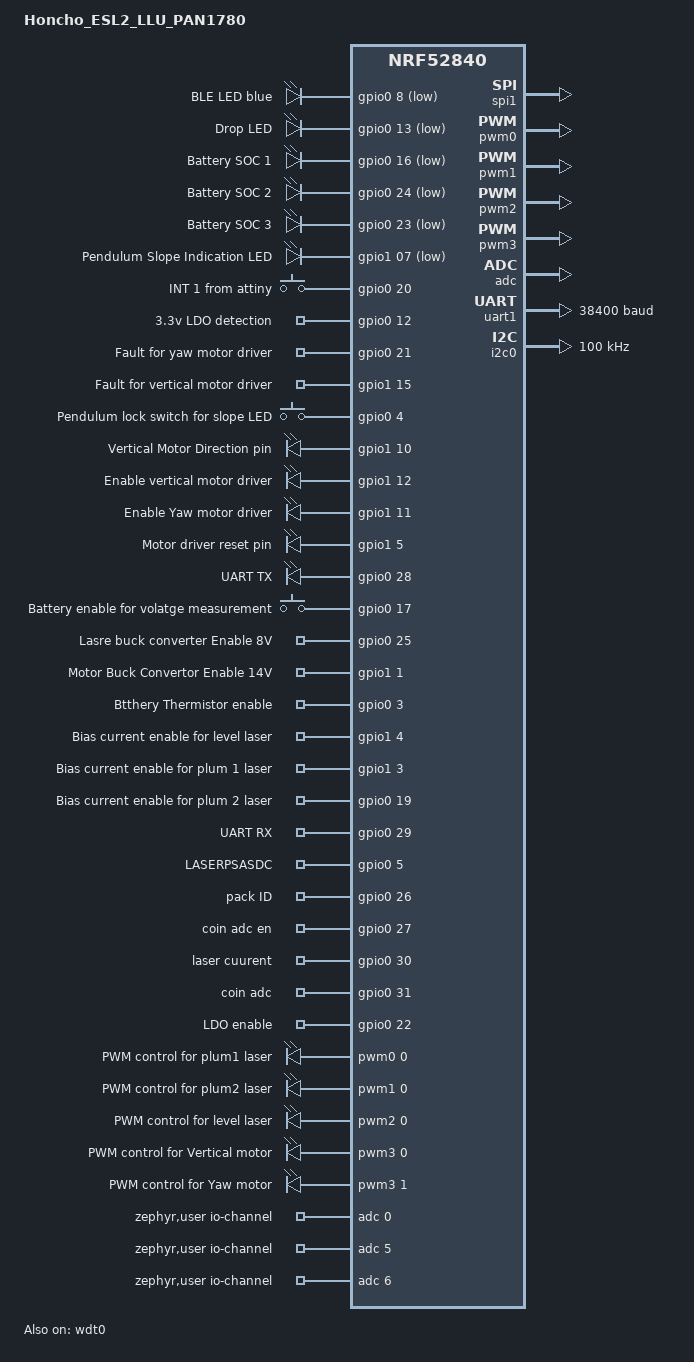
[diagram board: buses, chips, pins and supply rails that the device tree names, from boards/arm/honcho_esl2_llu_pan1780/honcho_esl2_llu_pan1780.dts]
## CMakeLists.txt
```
# SPDX-License-Identifier: Apache-2.0

cmake_minimum_required(VERSION 3.20.0)
find_package(Zephyr REQUIRED HINTS $ENV{ZEPHYR_BASE})
project(Honcho_LLU)

#Early init file
zephyr_library()
zephyr_library_sources(board.c)

# header file 
zephyr_include_directories(src/drivers/include)
zephyr_include_directories(src/peripherals/include)
zephyr_include_directories(src/Bluetooth/include)
zephyr_include_directories(src/motor_control/include)
zephyr_include_directories(src/data_logging/include)
zephyr_include_directories(src/calibration/include)

# source file
FILE(GLOB app_sources src/*.c)
FILE(GLOB driver_sources src/drivers/*.c)
FILE(GLOB peripheral_sources src/peripherals/*.c)
FILE(GLOB ble_sources src/Bluetooth/*.c/)
FILE(GLOB motor_control_sources src/motor_control/*.c)
FILE(GLOB datalog_sources src/data_logging/*.c)
FILE(GLOB calib_sources src/calibration/*.c)
target_sources(app PRIVATE ${app_sources} ${driver_sources} ${peripheral_sources} ${ble_sources} 
                                        ${motor_control_sources} ${datalog_sources} ${calib_sources})
```

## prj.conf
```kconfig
# Peripheral conig for project
CONFIG_GPIO=y
CONFIG_SPI=y
CONFIG_MAIN_STACK_SIZE=4096
CONFIG_STDOUT_CONSOLE=n
CONFIG_PRINTK=y
CONFIG_PINCTRL=y
CONFIG_PWM=y

# choose RTT console
CONFIG_CONSOLE=y
CONFIG_UART_CONSOLE=n
CONFIG_USE_SEGGER_RTT=y
CONFIG_RTT_CONSOLE=y

# Datalogging configrations
CONFIG_FLASH=y
CONFIG_FLASH_PAGE_LAYOUT=y

# KL Turn off debugging in kernel
CONFIG_NVS=y
CONFIG_LOG=n
CONFIG_NVS_LOG_LEVEL_DBG=n
CONFIG_REBOOT=y
CONFIG_MPU_ALLOW_FLASH_WRITE=y


# enable async uart
CONFIG_UART_ASYNC_API=y
CONFIG_SERIAL=y
CONFIG_UART_INTERRUPT_DRIVEN=y  

# Enable Thrad Monitor
CONFIG_THREAD_MONITOR=n

# Enable the BLE stack with GATT Client configuration
CONFIG_BT=y
CONFIG_BT_PERIPHERAL=y
CONFIG_BT_CENTRAL=y
CONFIG_BT_SMP=y
CONFIG_BT_GATT_CLIENT=y

# Enable the BLE modules from NCS
CONFIG_BT_NUS_CLIENT=y
CONFIG_BT_SCAN=y
CONFIG_BT_SCAN_FILTER_ENABLE=y
CONFIG_BT_SCAN_MANUFACTURER_DATA_CNT=1
CONFIG_BT_SCAN_UUID_CNT=1
CONFIG_BT_GATT_DM=y
CONFIG_HEAP_MEM_POOL_SIZE=4096

# This example requires more workqueue stack

CONFIG_BT_MAX_CONN=2
CONFIG_BT_MAX_PAIRED=1
CONFIG_BT_PRIVACY=n

# Enable bonding
CONFIG_BT_SETTINGS=y
CONFIG_FLASH_MAP=y
CONFIG_SETTINGS=y


#Configration for increased power
CONFIG_BT_CTLR=y
CONFIG_BT_HCI=y
CONFIG_BT_LL_SW_SPLIT=n
# CONFIG_BT_CTLR_ADVANCED_FEATURES=y
CONFIG_BT_CTLR_CONN_RSSI=y
CONFIG_BT_CTLR_TX_PWR_DYNAMIC_CONTROL=y
CONFIG_BT_LL_SOFTDEVICE=y

#Configration to stop idle thread to run 
CONFIG_IDLE_STACK_SIZE= 2048 

#Configratoin for ADC
CONFIG_ADC=y

#Configration for Watchdog
CONFIG_WATCHDOG=y

#Configration to remove the boot banner
CONFIG_BOOT_BANNER=n

#Configration to get PM_device
CONFIG_PM=y
CONFIG_PM_DEVICE=y

#Configration for I2C 
CONFIG_I2C=y
CONFIG_NEWLIB_LIBC=y


#Coded PHY
CONFIG_BT_CTLR_PHY_CODED=y
CONFIG_BT_EXT_ADV=y
CONFIG_BT_USER_PHY_UPDATE=y
CONFIG_BT_EXT_ADV_MAX_ADV_SET=2

CONFIG_BT_HCI_VS=y
CONFIG_BT_HCI_VS_EXT=y

CONFIG_ASSERT=y

CONFIG_NRFX_POWER=y

CONFIG_FPU=y
CONFIG_NEWLIB_LIBC_FLOAT_PRINTF=y
```

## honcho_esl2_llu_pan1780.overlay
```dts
// To get started, press Ctrl+Space to bring up the completion menu and view the available nodes.

// You can also use the buttons in the sidebar to perform actions on nodes.
// Actions currently available include:

// * Enabling / disabling the node
// * Adding the bus to a bus
// * Removing the node
// * Connecting ADC channels

// For more help, browse the DeviceTree documentation at https://docs.zephyrproject.org/latest/guides/dts/index.html
// You can also visit the nRF DeviceTree extension documentation at https://nrfconnect.github.io/vscode-nrf-connect/devicetree/nrfdevicetree.html
// &i2c0 {
// 	status = "disabled";
// };
```

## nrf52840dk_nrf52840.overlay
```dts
// To get started, press Ctrl+Space to bring up the completion menu and view the available nodes.

// You can also use the buttons in the sidebar to perform actions on nodes.
// Actions currently available include:

// * Enabling / disabling the node
// * Adding the bus to a bus
// * Removing the node
// * Connecting ADC channels

// For more help, browse the DeviceTree documentation at https://docs.zephyrproject.org/latest/guides/dts/index.html
// You can also visit the nRF DeviceTree extension documentation at https://nrfconnect.github.io/vscode-nrf-connect/devicetree/nrfdevicetree.html
// To get started, press Ctrl+Space to bring up the completion menu and view the available nodes.

// You can also use the buttons in the sidebar to perform actions on nodes.
// Actions currently available include:

// * Enabling / disabling the node
// * Adding the bus to a bus
// * Removing the node
// * Connecting ADC channels

// For more help, browse the DeviceTree documentation at https://docs.zephyrproject.org/latest/guides/dts/index.html
// You can also visit the nRF DeviceTree extension documentation at https://nrfconnect.github.io/vscode-nrf-connect/devicetree/nrfdevicetree.html
/ {
	chosen {
		zephyr,sram = &sram0;
		zephyr,flash = &flash0;
		zephyr,code-partition = &slot0_partition;
	};

	leds {
		compatible = "gpio-leds";
		// Power_led: Power_led {
		// 	gpios = <&gpio0 11 GPIO_ACTIVE_LOW>;
		// 	label = "Power LED red";
		// };
		Blue_led: Blue_led {
			gpios = <&gpio0 8 GPIO_ACTIVE_LOW>;
			label = "BLE LED blue";
		};
		Drop_led: Drop_led {
			gpios = <&gpio0 13 GPIO_ACTIVE_LOW>;
			label = "Drop LED";
		};
		soc1: soc1 {
			gpios = <&gpio0 16 GPIO_ACTIVE_LOW>;
			label = "Battery SOC 1";

		};
		soc2: soc2 {
			gpios = <&gpio0 24 GPIO_ACTIVE_LOW>;
			label = "Battery SOC 2";
			
		};
		soc3: soc3 {
			gpios = <&gpio0 23 GPIO_ACTIVE_LOW>;
			label = "Battery SOC 3";
			
		};
		Slope_led: Slope_led {
			gpios = <&gpio1 07 GPIO_ACTIVE_LOW>;
			label = "Pendulum Slope Indication LED";
			
		};
		
	};

	interrupt {
		compatible = "gpio-keys";
		keypadint: keypadint {
			gpios =  <&gpio0 20  (GPIO_PULL_DOWN | GPIO_ACTIVE_HIGH)>;
			label = "INT 1 from attiny";
		};
		v3p3detect: v3p3detect {
			gpios =  <&gpio0 12  (GPIO_PULL_DOWN | GPIO_ACTIVE_HIGH)>;
			label = "3.3v LDO detection";
		};
		yawfault: yawfault {
			gpios = <&gpio0 21 (GPIO_PULL_DOWN | GPIO_ACTIVE_HIGH)>;
			label = "Fault for yaw motor driver";
		};
		vertfault: vertfault {
			gpios = <&gpio1 15 (GPIO_PULL_DOWN | GPIO_ACTIVE_HIGH)>;
			label = "Fault for vertical motor driver";
		};
	};

	outputs {
		compatible = "gpio-leds";
		motor_dir: motor_dir  {
			gpios = <&gpio1 10 GPIO_ACTIVE_HIGH>;		
			label = "Vertical Motor Direction pin";
		};
		// motor_yaw_dir: motor_yaw_dir {
		// 	gpios = <&gpio1 2 GPIO_ACTIVE_HIGH>;		
		// 	label = "Yaw Motor Direction pin";
		// };
		motor_vertEN: motor_vertEN {
			gpios = <&gpio1 12 GPIO_ACTIVE_HIGH>;
			label = "Enable vertical motor driver";
		};
		motor_yawEN: motor_yawEN {
			gpios = <&gpio1 11 GPIO_ACTIVE_HIGH>;
			label = "Enable Yaw motor driver";
		};
		motor_reset: motor_reset{
			gpios = <&gpio1 5 GPIO_ACTIVE_HIGH>;
			label = "Motor driver reset pin";
		};
		Uart_TX: Uart_TX_28 {
            gpios = <&gpio0 28 GPIO_ACTIVE_HIGH>;
            label = "UART TX";
        };
       
	};
	
	enables {
		compatible = "gpio-keys";
		Vbatpack_EN: Vbatpack_EN {
			gpios =  <&gpio0 17 (GPIO_PULL_DOWN | GPIO_ACTIVE_HIGH)>;
			label = "Battery enable for volatge measurement";
		};
		LaserBuck_EN: LaserBuck_EN {
			gpios =  <&gpio0 25 (GPIO_PULL_DOWN | GPIO_ACTIVE_HIGH)>;
			label = "Lasre buck converter Enable 8V";
		};
		MotorBuck_EN: MotorBuck_EN {
			gpios =  <&gpio1 1 (GPIO_PULL_DOWN | GPIO_ACTIVE_HIGH)>;
			label = "Motor Buck Convertor Enable 14V";
		};
		LaserLbias:LaserLbias {
			gpios =  <&gpio1 4 (GPIO_PULL_DOWN | GPIO_ACTIVE_HIGH)>;
			label = "Bias current enable for level laser";
		};
		LaserP1bias:LaserP1bias {
			gpios =  <&gpio1 3 (GPIO_PULL_DOWN | GPIO_ACTIVE_HIGH)>;
			label = "Bias current enable for plum 1 laser";
		};
		LaserP2bias:LaserP2bias {
			gpios =  <&gpio0 19 (GPIO_PULL_DOWN | GPIO_ACTIVE_HIGH)>;
			label = "Bias current enable for plum 2 laser";
		};
		Uart_RX: Uart_RX_29 {
            gpios = <&gpio0 29 (GPIO_PULL_UP | GPIO_ACTIVE_HIGH)>;
            label = "UART RX";
        };

	};

	pwm {
		compatible = "pwm-leds";
		plum1_pwm: plum1_pwm {
			pwms = <&pwm0 0 PWM_MSEC(20) PWM_POLARITY_INVERTED>;
			label = "PWM control for plum1 laser";
		};

		plum2_pwm: plum2_pwm {
			pwms = <&pwm1 0 PWM_MSEC(20) PWM_POLARITY_INVERTED>;
			label = "PWM control for plum2 laser";
		};

		level_pwm: level_pwm {
			pwms = <&pwm2 0 PWM_MSEC(20) PWM_POLARITY_INVERTED>;
			label = "PWM control for level laser";
		};
		vert_motor_step: vert_motor_step {
			pwms = <&pwm3 0 PWM_MSEC(20) PWM_POLARITY_INVERTED>;
			label = "PWM control for Vertical motor";
		};
		yaw_motor_step: yaw_motor_step {
			pwms = <&pwm3 1 PWM_MSEC(20) PWM_POLARITY_INVERTED>;
			label = "PWM control for Yaw motor";
		};

	};

	zephyr,user{
		io-channels = <&adc 0>, <&adc 4>, <&adc 5>, <&adc 7> ;
	};

	aliases {
		keypadint 		= &keypadint;
		bleled	 		= &Blue_led;
		dropled			= &Drop_led;
		slopeled		= &Slope_led;
		vbaten 			= &Vbatpack_EN;
		lbucken 		= &LaserBuck_EN;
		mbucken 		= &MotorBuck_EN;
		motordir 		= &motor_dir;
		motorverten     = &motor_vertEN;
		motoryawen      = &motor_yawEN;
		lvlbias			= &LaserLbias;
		plm1bias		= &LaserP1bias;
		plm2bias		= &LaserP2bias;
		motorrst		= &motor_reset;	
		uarttx 			= &Uart_TX;				//Bitbang Datalog
        uartrx 			= &Uart_RX;				//Bitbang Datalog
	};
};

&gpio0 {
	status = "okay";
};

&gpio1 {
	status = "okay";
};

&spi1 {
	status = "okay";
	pinctrl-0 = <&spi1_default>;
	pinctrl-1 = <&spi1_sleep>;
	pinctrl-names = "default", "sleep";
	cs-gpios = <&gpio0 7 GPIO_ACTIVE_LOW>;
};

&pwm0 {
	status = "okay";
	pinctrl-0 = <&pwm0_default>;
	pinctrl-1 = <&pwm0_sleep>;
	pinctrl-names = "default", "sleep";
};

&pwm1 {
	status = "okay";
	pinctrl-0 = <&pwm1_default>;
	pinctrl-1 = <&pwm1_sleep>;
	pinctrl-names = "default", "sleep";
};

&pwm2 {
	status = "okay";
	pinctrl-0 = <&pwm2_default>;
	pinctrl-1 = <&pwm2_sleep>;
	pinctrl-names = "default", "sleep";
};

&pwm3 {
	status = "okay";
	pinctrl-0 = <&pwm3_default>;
	pinctrl-1 = <&pwm3_sleep>;
	pinctrl-names = "default", "sleep";
};



&adc {
	status = "okay";
};

// &uart0 {
// 	status = "okay";
// 	compatible = "nordic,nrf-uarte";
// 	current-speed = <115200>;
// 	pinctrl-0 = <&uart0_default>;
// 	pinctrl-1 = <&uart0_sleep>;
// 	pinctrl-names = "default", "sleep";
// };

&uart1 {
	compatible = "nordic,nrf-uarte";
	current-speed = <38400>;					//9600 = ibox, 38400 = bootloader
	status = "okay";
	pinctrl-0 = <&uart1_default>;
	pinctrl-1 = <&uart1_sleep>;
	pinctrl-names = "default", "sleep";
  };

  &i2c1 {
	status = "okay";
	pinctrl-0 = <&i2c1_default>;
	pinctrl-1 = <&i2c1_sleep>;
	pinctrl-names = "default", "sleep";

  };
  

// &flash0 {
// 	partitions {
// 		compatible = "fixed-partitions";
// 		#address-cells = <1>;
// 		#size-cells = <1>;

// 		boot_partition: partition@0 {
// 			label = "mcuboot";
// 			reg = <0x0 0xc000>;
// 		};
// 		slot0_partition: partition@c000 {
// 			label = "image-0";
// 			reg = <0xc000 0x72000>;
// 		};
// 		scratch_partition: partition@f0000 {
// 			label = "image-scratch";
// 			reg = <0xf0000 0x6000>;
// 		};
// 		calibraion_parition: partition@f6000 {
// 			label = "calib-variable";
// 			reg = <0xf6000 0x2000>;
// 		};
// 		variable_partition: partition@f8000{
// 			label = "flash-variable";
// 			reg = <0xf8000 0x2000>;
// 		};
// 		storage_partition: partition@fa000 {
// 			label = "storage";
// 			reg = <0xfa000 0x6000>;
// 		};
// 	};
// };

&pinctrl {
	// uart0_default: uart0_default {
	// 	group1 {
	// 		psels = <NRF_PSEL(UART_TX, 0, 28)>,
	// 				<NRF_PSEL(UART_RX, 0, 29)>;
	// 	};
	// };

	// uart0_sleep: uart0_sleep {
	// 	group1 {
	// 		psels = <NRF_PSEL(UART_TX, 0, 28)>,
	// 			<NRF_PSEL(UART_RX, 0, 29)>;
	// 		low-power-enable;
	// 	};
	// };

	spi1_default: spi1_default {
		group1 {
			psels = <NRF_PSEL(SPIM_SCK, 0, 15)>,
				<NRF_PSEL(SPIM_MISO, 0, 6)>,
				<NRF_PSEL(SPIM_MOSI, 0,14)>;
		};
	};

	spi1_sleep: spi1_sleep {
		group1 {
			psels = <NRF_PSEL(SPIM_SCK, 0, 15)>,
				<NRF_PSEL(SPIM_MISO, 0, 6)>,
				<NRF_PSEL(SPIM_MOSI, 0, 14)>;
			low-power-enable;
		};
	};

	uart1_default: uart1_default {
		group1 {
			psels = <NRF_PSEL(UART_RX, 1, 14)>;		////test point P1.14, th P0.29  AN5
			bias-pull-up;
		};
		group2 {
			psels = <NRF_PSEL(UART_TX, 1, 4)>;		//test point P1.04, SBD C3 P0.28 AN4
		};
	};
	
	uart1_sleep: uart1_sleep {
		group1 {
			psels = <NRF_PSEL(UART_RX, 1, 14)>,
				<NRF_PSEL(UART_TX, 1, 4)>;
			low-power-enable;
		};
	};

	i2c1_default: i2c1_default {
		group1 {
			psels = <NRF_PSEL(TWIM_SDA, 0, 8)>,
				<NRF_PSEL(TWIM_SCL, 0, 6)>;
		};
	};

	i2c1_sleep: i2c1_sleep {
		group1 {
			psels = <NRF_PSEL(TWIM_SDA, 0, 8)>,
				<NRF_PSEL(TWIM_SCL, 0, 6)>;
			low-power-enable;
		};
	};
	
	pwm0_default: pwm0_default {
		group1 {
			psels = <NRF_PSEL(PWM_OUT0, 1, 9)>;
			nordic,invert;
		};
	};

	pwm0_sleep: pwm0_sleep {
		group1 {
			psels = <NRF_PSEL(PWM_OUT0, 1, 9)>;
			low-power-enable;
		};
	};
	pwm1_default: pwm1_default {
		group1 {
			psels = <NRF_PSEL(PWM_OUT0, 1, 13)>;
			nordic,invert;
		};
	};

	pwm1_sleep: pwm1_sleep {
		group1 {
			psels = <NRF_PSEL(PWM_OUT0, 1, 13)>;
			low-power-enable;
		};
	};

	pwm2_default: pwm2_default {
		group1 {
			psels = <NRF_PSEL(PWM_OUT0, 1, 8)>;
			nordic,invert;
		};
	};

	pwm2_sleep: pwm2_sleep {
		group1 {
			psels = <NRF_PSEL(PWM_OUT0, 1, 8)>;
			low-power-enable;
		};
	};

	pwm3_default: pwm3_default {
		group1 {
			psels = <NRF_PSEL(PWM_OUT0, 1, 6)>,
					<NRF_PSEL(PWM_OUT1, 1, 2)>;
			nordic,invert;
		};
	};

	pwm3_sleep: pwm3_sleep {
		group1 {
			psels = <NRF_PSEL(PWM_OUT0, 1, 6)>,
					<NRF_PSEL(PWM_OUT1, 1, 2)>;
			low-power-enable;
		};
	};
	

};
```

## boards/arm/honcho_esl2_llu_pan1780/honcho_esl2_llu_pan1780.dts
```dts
// Copyright (c) 2023 Nordic Semiconductor ASA
// SPDX-License-Identifier: Apache-2.0

/dts-v1/;
#include <nordic/nrf52840_qiaa.dtsi>
#include "honcho_esl2_llu_pan1780-pinctrl.dtsi"

/ {
	model = "Honcho_ESL2_LLU_PAN1780";
	compatible = "stanley-black-decker,honcho-esl2-llu-pan1780";

	chosen {
		zephyr,sram = &sram0;
		zephyr,flash = &flash0;
		zephyr,code-partition = &slot0_partition;
	};

	leds {
		compatible = "gpio-leds";
		// Power_led: Power_led {
		// 	gpios = <&gpio0 11 GPIO_ACTIVE_LOW>;
		// 	label = "Power LED red";
		// };
		Blue_led: Blue_led {
			gpios = <&gpio0 8 GPIO_ACTIVE_LOW>;
			label = "BLE LED blue";
		};
		Drop_led: Drop_led {
			gpios = <&gpio0 13 GPIO_ACTIVE_LOW>;
			label = "Drop LED";
		};
		soc1: soc1 {
			gpios = <&gpio0 16 GPIO_ACTIVE_LOW>;
			label = "Battery SOC 1";

		};
		soc2: soc2 {
			gpios = <&gpio0 24 GPIO_ACTIVE_LOW>;
			label = "Battery SOC 2";
			
		};
		soc3: soc3 {
			gpios = <&gpio0 23 GPIO_ACTIVE_LOW>;
			label = "Battery SOC 3";
			
		};
		Slope_led: Slope_led {
			gpios = <&gpio1 07 GPIO_ACTIVE_LOW>;
			label = "Pendulum Slope Indication LED";
			
		};
		
	};

	interrupt {
		compatible = "gpio-keys";
		keypadint: keypadint {
			gpios =  <&gpio0 20  (GPIO_PULL_DOWN | GPIO_ACTIVE_HIGH)>;
			label = "INT 1 from attiny";
		};
		v3p3detect: v3p3detect {
			gpios =  <&gpio0 12  (GPIO_ACTIVE_HIGH)>;
			label = "3.3v LDO detection";
		};
		yawfault: yawfault {
			gpios = <&gpio0 21 (GPIO_ACTIVE_HIGH)>;
			label = "Fault for yaw motor driver";
		};
		vertfault: vertfault {
			gpios = <&gpio1 15 (GPIO_ACTIVE_HIGH)>;
			label = "Fault for vertical motor driver";
		};
		pendulumlock: pendulumlock {
			gpios = <&gpio0 4 (GPIO_PULL_DOWN | GPIO_ACTIVE_HIGH)>;
			label = "Pendulum lock switch for slope LED";
		};
		
	};

	outputs {
		compatible = "gpio-leds";
		motor_dir: motor_dir  {
			gpios = <&gpio1 10 GPIO_ACTIVE_HIGH>;		
			label = "Vertical Motor Direction pin";
		};
		// motor_yaw_dir: motor_yaw_dir {
		// 	gpios = <&gpio1 2 GPIO_ACTIVE_HIGH>;		
		// 	label = "Yaw Motor Direction pin";
		// };
		motor_vertEN: motor_vertEN {
			gpios = <&gpio1 12 GPIO_ACTIVE_HIGH>;
			label = "Enable vertical motor driver";
		};
		motor_yawEN: motor_yawEN {
			gpios = <&gpio1 11 GPIO_ACTIVE_HIGH>;
			label = "Enable Yaw motor driver";
		};
		motor_reset: motor_reset{
			gpios = <&gpio1 5 GPIO_ACTIVE_HIGH>;
			label = "Motor driver reset pin";
		};
		Uart_TX: Uart_TX_28 {
            gpios = <&gpio0 28 GPIO_ACTIVE_HIGH>;
            label = "UART TX";
        };
       
	};
	
	enables {
		compatible = "gpio-keys";
		Vbatpack_EN: Vbatpack_EN {
			gpios =  <&gpio0 17 (GPIO_ACTIVE_HIGH)>;
			label = "Battery enable for volatge measurement";
		};
		LaserBuck_EN: LaserBuck_EN {
			gpios =  <&gpio0 25 (GPIO_ACTIVE_HIGH)>;
			label = "Lasre buck converter Enable 8V";
		};
		MotorBuck_EN: MotorBuck_EN {
			gpios =  <&gpio1 1 (GPIO_ACTIVE_HIGH)>;
			label = "Motor Buck Convertor Enable 14V";
		};
		BattTH_EN: BattTH_EN {
			gpios =  <&gpio0 3 (GPIO_ACTIVE_HIGH)>;
			label = "Btthery Thermistor enable";
		};
		LaserLbias:LaserLbias {
			gpios =  <&gpio1 4 (GPIO_ACTIVE_HIGH)>;
			label = "Bias current enable for level laser";
		};
		LaserP1bias:LaserP1bias {
			gpios =  <&gpio1 3 (GPIO_ACTIVE_HIGH)>;
			label = "Bias current enable for plum 1 laser";
		};
		LaserP2bias:LaserP2bias {
			gpios =  <&gpio0 19 (GPIO_ACTIVE_HIGH)>;
			label = "Bias current enable for plum 2 laser";
		};
		Uart_RX: Uart_RX_29 {
            gpios = <&gpio0 29 (GPIO_ACTIVE_HIGH)>;
            label = "UART RX";
        };
		Laser_PS_ADC: Laser_PS_ADC{
			gpios = <&gpio0 5 (GPIO_ACTIVE_HIGH)>;
            label = "LASERPSASDC";
		};
		PACK_ID_EN: PACK_ID_EN{
			gpios = <&gpio0 26 (GPIO_ACTIVE_HIGH)>;
            label = "pack ID";
		};
		VBatt_coin_EN: Vbatt_coin_EN{
			gpios = <&gpio0 27 (GPIO_ACTIVE_HIGH)>;
            label = "coin adc en";
		};
		Laser_Current: Laser_Current{
			gpios = <&gpio0 30 (GPIO_ACTIVE_HIGH)>;
            label = "laser cuurent";
		};
		Vbatt_coin_adc: Vbatt_coin_adc{
			gpios = <&gpio0 31 (GPIO_ACTIVE_HIGH)>;
            label = "coin adc";
		};
		LDO_EN: LDO_EN{
			gpios = <&gpio0 22 (GPIO_ACTIVE_HIGH)>;
            label = "LDO enable";
		};


	};

	pwm {
		compatible = "pwm-leds";
		plum1_pwm: plum1_pwm {
			pwms = <&pwm0 0 PWM_MSEC(20) PWM_POLARITY_INVERTED>;
			label = "PWM control for plum1 laser";
		};

		plum2_pwm: plum2_pwm {
			pwms = <&pwm1 0 PWM_MSEC(20) PWM_POLARITY_INVERTED>;
			label = "PWM control for plum2 laser";
		};

		level_pwm: level_pwm {
			pwms = <&pwm2 0 PWM_MSEC(20) PWM_POLARITY_INVERTED>;
			label = "PWM control for level laser";
		};
		vert_motor_step: vert_motor_step {
			pwms = <&pwm3 0 PWM_MSEC(20) PWM_POLARITY_INVERTED>;
			label = "PWM control for Vertical motor";
		};
		yaw_motor_step: yaw_motor_step {
			pwms = <&pwm3 1 PWM_MSEC(20) PWM_POLARITY_INVERTED>;
			label = "PWM control for Yaw motor";
		};

	};

	zephyr,user{
		io-channels = <&adc 0>,<&adc 5>,<&adc 6>;
	};

	aliases {
		keypadint 		= &keypadint;
		battdetect	    = &v3p3detect;
		pendlck			= &pendulumlock;
		bleled	 		= &Blue_led;
		dropled			= &Drop_led;
		slopeled		= &Slope_led;
		vbaten 			= &Vbatpack_EN;
		battthen		= &BattTH_EN;
		lbucken 		= &LaserBuck_EN;
		mbucken 		= &MotorBuck_EN;
		motordir 		= &motor_dir;
		motorverten     = &motor_vertEN;
		motoryawen      = &motor_yawEN;
		lvlbias			= &LaserLbias;
		plm1bias		= &LaserP1bias;
		plm2bias		= &LaserP2bias;
		motorrst		= &motor_reset;	
		uarttx 			= &Uart_TX;				//Bitbang Datalog
        uartrx 			= &Uart_RX;				//Bitbang Datalog
		laserpsadc 		= &Laser_PS_ADC;
		packiden		= &PACK_ID_EN;
		vbatcoinen		= &VBatt_coin_EN;
		lasercurrent	= &Laser_Current;
		vbattcoinadc	= &Vbatt_coin_adc;
		ldoen			= &LDO_EN;
	};
};

&gpio0 {
	status = "okay";
};

&gpio1 {
	status = "okay";
};

&spi1 {
	status = "okay";
	pinctrl-0 = <&spi1_default>;
	pinctrl-1 = <&spi1_sleep>;
	pinctrl-names = "default", "sleep";
	cs-gpios = <&gpio0 7 GPIO_ACTIVE_LOW>;
};

&pwm0 {
	status = "okay";
	pinctrl-0 = <&pwm0_default>;
	pinctrl-1 = <&pwm0_sleep>;
	pinctrl-names = "default", "sleep";
};

&pwm1 {
	status = "okay";
	pinctrl-0 = <&pwm1_default>;
	pinctrl-1 = <&pwm1_sleep>;
	pinctrl-names = "default", "sleep";
};

&pwm2 {
	status = "okay";
	pinctrl-0 = <&pwm2_default>;
	pinctrl-1 = <&pwm2_sleep>;
	pinctrl-names = "default", "sleep";
};

&pwm3 {
	status = "okay";
	pinctrl-0 = <&pwm3_default>;
	pinctrl-1 = <&pwm3_sleep>;
	pinctrl-names = "default", "sleep";
};



&adc {
	status = "okay";
};

// &uart0 {
// 	status = "okay";
// 	compatible = "nordic,nrf-uarte";
// 	current-speed = <115200>;
// 	pinctrl-0 = <&uart0_default>;
// 	pinctrl-1 = <&uart0_sleep>;
// 	pinctrl-names = "default", "sleep";
// };

&uart1 {
	compatible = "nordic,nrf-uarte";
	current-speed = <38400>;					//9600 = ibox, 38400 = bootloader
	status = "okay";
	pinctrl-0 = <&uart1_default>;
	pinctrl-1 = <&uart1_sleep>;
	pinctrl-names = "default", "sleep";
  };

  &i2c0 {
	status = "okay";
	pinctrl-0 = <&i2c0_default>;
	pinctrl-1 = <&i2c0_sleep>;
	clock-frequency = <I2C_BITRATE_STANDARD>;
	pinctrl-names = "default", "sleep";

  };

//   &flash0 {
// 	partitions {
// 		compatible = "fixed-partitions";
// 		#address-cells = <1>;
// 		#size-cells = <1>;

// 		boot_partition: partition@0 {
// 			label = "mcuboot";
// 			reg = <0x000000000 0x0000C000>;
// 		};
// 		slot0_partition: partition@c000 {
// 			label = "image-0";
// 			reg = <0x0000C000 0x00067000>;
// 		};
// 		slot1_partition: partition@73000 {
// 			label = "image-1";
// 			reg = <0x00073000 0x00067000>;
// 		};
// 		scratch_partition: partition@da000 {
// 			label = "image-scratch";
// 			reg = <0x000da000 0x00014000>;
// 		};

// 		/*
// 		 * The flash starting at 0x000f8000 and ending at
// 		 * 0x000fffff is reserved for use by the application.
// 		 */

// 		/*
// 		 * Storage partition will be used by FCB/LittleFS/NVS
// 		 * if enabled.
// 		 */
// 		datalog_partition: partition@EE000 {
// 			label = "datalog";
// 			reg = <0x000ee000 0x0006000>;
// 		};
// 		calibraion_parition: partition@f4000 {
// 			label = "calib-variable";
// 			reg = <0x000f4000 0x0002000>;
// 		};
// 		variable_partition: partition@f6000{
// 			label = "flash-variable";
// 			reg = <0x000f6000 0x0002000>;
// 		};
// 		storage_partition: partition@f8000 {
// 			label = "storage";
// 			reg = <0x000f8000 0x00008000>;
// 		};
// 	};
// };

&flash0 {
	partitions {
		compatible = "fixed-partitions";
		#address-cells = <1>;
		#size-cells = <1>;

		boot_partition: partition@0 {
			label = "mcuboot";
			reg = <0x000000000 0x0000C000>;
		};
		slot0_partition: partition@c000 {
			label = "image-0";
			reg = <0x0000c000 0x00072000>;
		};
		// slot1_partition: partition@7e000 {
		// 	label = "image-1";
		// 	reg = <0x7e000 0x72000>;
		// };
		// scratch_partition: partition@f0000 {
		// 	label = "image-scratch";
		// 	reg = <0xf0000 0xa000>;
		// };
		scratch_partition: partition@7e000 {
			label = "image-scratch";
			reg = <0x0007e000 0x00070000>;
		};
		datalog_partition: partition@ee000	{
			label = "datalog-area";
			reg = <0x000ee000 0x00006000>;
		};
		calibraion_parition: partition@f4000 {
			label = "calib-area";
			reg = <0x000f4000 0x00002000>;
		};
		variable_partition: partition@f6000{
			label = "laserstatus-area";
			reg = <0x000f6000 0x00002000>;
		};
		storage_partition: partition@f8000 {
			label = "storage";
			reg = <0x000f8000 0x00008000>;
		};
	};
};

&wdt0 {
	compatible= "nordic,nrf-wdt";
	status="okay";
};
```

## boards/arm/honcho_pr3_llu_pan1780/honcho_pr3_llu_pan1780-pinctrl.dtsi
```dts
/*
 * Copyright (c) 2022 Nordic Semiconductor
 * SPDX-License-Identifier: Apache-2.0
 * Pinouts of file in path EE Team for HTAS -> Documnets 
 * -> General -> Documents -> Firmware -> Nordic Pinout.xlsx
 */
 &pinctrl {
	// uart0_default: uart0_default {
	// 	group1 {
	// 		psels = <NRF_PSEL(UART_TX, 0, 28)>,
	// 				<NRF_PSEL(UART_RX, 0, 29)>;
	// 	};
	// };

	// uart0_sleep: uart0_sleep {
	// 	group1 {
	// 		psels = <NRF_PSEL(UART_TX, 0, 28)>,
	// 			<NRF_PSEL(UART_RX, 0, 29)>;
	// 		low-power-enable;
	// 	};
	// };

	spi1_default: spi1_default {
		group1 {
			psels = <NRF_PSEL(SPIM_SCK, 0, 15)>,
				<NRF_PSEL(SPIM_MISO, 0, 6)>,
				<NRF_PSEL(SPIM_MOSI, 0,14)>;
		};
	};

	spi1_sleep: spi1_sleep {
		group1 {
			psels = <NRF_PSEL(SPIM_SCK, 0, 15)>,
				<NRF_PSEL(SPIM_MISO, 0, 6)>,
				<NRF_PSEL(SPIM_MOSI, 0, 14)>;
			low-power-enable;
		};
	};

	uart1_default: uart1_default {
		group1 {
			psels = <NRF_PSEL(UART_RX, 1, 14)>;		////test point P1.14, th P0.29  AN5
			bias-pull-up;
		};
		group2 {
			psels = <NRF_PSEL(UART_TX, 1, 4)>;		//test point P1.04, SBD C3 P0.28 AN4
		};
	};
	
	uart1_sleep: uart1_sleep {
		group1 {
			psels = <NRF_PSEL(UART_RX, 1, 14)>,
				<NRF_PSEL(UART_TX, 1, 4)>;
			low-power-enable;
		};
	};

	i2c0_default: i2c0_default {
		group1 {
			psels = <NRF_PSEL(TWIM_SDA, 0, 11)>,						//8
				<NRF_PSEL(TWIM_SCL, 1, 14)>;							//6
		};
	};

	i2c0_sleep: i2c0_sleep {
		group1 {
			psels = <NRF_PSEL(TWIM_SDA, 0, 11)>,
				<NRF_PSEL(TWIM_SCL, 1, 14)>;
			low-power-enable;
		};
	};
	
	pwm0_default: pwm0_default {
		group1 {
			psels = <NRF_PSEL(PWM_OUT0, 1, 9)>;
			nordic,invert;
		};
	};

	pwm0_sleep: pwm0_sleep {
		group1 {
			psels = <NRF_PSEL(PWM_OUT0, 1, 9)>;
			low-power-enable;
		};
	};
	pwm1_default: pwm1_default {
		group1 {
			psels = <NRF_PSEL(PWM_OUT0, 1, 13)>;
			nordic,invert;
		};
	};

	pwm1_sleep: pwm1_sleep {
		group1 {
			psels = <NRF_PSEL(PWM_OUT0, 1, 13)>;
			low-power-enable;
		};
	};

	pwm2_default: pwm2_default {
		group1 {
			psels = <NRF_PSEL(PWM_OUT0, 1, 8)>;
			nordic,invert;
		};
	};

	pwm2_sleep: pwm2_sleep {
		group1 {
			psels = <NRF_PSEL(PWM_OUT0, 1, 8)>;
			low-power-enable;
		};
	};

	pwm3_default: pwm3_default {
		group1 {
			psels = <NRF_PSEL(PWM_OUT0, 1, 6)>,
					<NRF_PSEL(PWM_OUT1, 1, 2)>;
			nordic,invert;
		};
	};

	pwm3_sleep: pwm3_sleep {
		group1 {
			psels = <NRF_PSEL(PWM_OUT0, 1, 6)>,
					<NRF_PSEL(PWM_OUT1, 1, 2)>;
			low-power-enable;
		};
	};
	

};
```

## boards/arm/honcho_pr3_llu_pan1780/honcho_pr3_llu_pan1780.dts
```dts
// Copyright (c) 2023 Nordic Semiconductor ASA
// SPDX-License-Identifier: Apache-2.0

/dts-v1/;
#include <nordic/nrf52840_qiaa.dtsi>
#include "honcho_pr3_llu_pan1780-pinctrl.dtsi"

/ {
	model = "Honcho_PR3_LLU_PAN1780";
	compatible = "sbd,honcho-pr3-llu-pan1780";

	chosen {
		zephyr,sram = &sram0;
		zephyr,flash = &flash0;
		zephyr,code-partition = &slot0_partition;
		zephyr_console = &uart0;
	};

	leds {
		compatible = "gpio-leds";
		// Power_led: Power_led {
		// 	gpios = <&gpio0 11 GPIO_ACTIVE_LOW>;
		// 	label = "Power LED red";
		// };
		Blue_led: Blue_led {
			gpios = <&gpio0 8 GPIO_ACTIVE_LOW>;
			label = "BLE LED blue";
		};
		Drop_led: Drop_led {
			gpios = <&gpio0 13 GPIO_ACTIVE_LOW>;
			label = "Drop LED";
		};
		soc1: soc1 {
			gpios = <&gpio0 16 GPIO_ACTIVE_LOW>;
			label = "Battery SOC 1";

		};
		soc2: soc2 {
			gpios = <&gpio0 24 GPIO_ACTIVE_LOW>;
			label = "Battery SOC 2";
			
		};
		soc3: soc3 {
			gpios = <&gpio0 23 GPIO_ACTIVE_LOW>;
			label = "Battery SOC 3";
			
		};
		Slope_led: Slope_led {
			gpios = <&gpio1 07 GPIO_ACTIVE_LOW>;
			label = "Pendulum Slope Indication LED";
			
		};
		
	};

	interrupt {
		compatible = "gpio-keys";
		keypadint: keypadint {
			gpios =  <&gpio0 20  (GPIO_PULL_DOWN | GPIO_ACTIVE_HIGH)>;
			label = "INT 1 from attiny";
		};
		v3p3detect: v3p3detect {
			gpios =  <&gpio0 12  (GPIO_ACTIVE_HIGH)>;
			label = "3.3v LDO detection";
		};
		yawfault: yawfault {
			gpios = <&gpio0 21 (GPIO_ACTIVE_HIGH)>;
			label = "Fault for yaw motor driver";
		};
		vertfault: vertfault {
			gpios = <&gpio1 15 (GPIO_ACTIVE_HIGH)>;
			label = "Fault for vertical motor driver";
		};
		pendulumlock: pendulumlock {
			gpios = <&gpio0 4 (GPIO_PULL_DOWN | GPIO_ACTIVE_HIGH)>;
			label = "Pendulum lock switch for slope LED";
		};
		
	};

	outputs {
		compatible = "gpio-leds";
		motor_dir: motor_dir  {
			gpios = <&gpio1 10 GPIO_ACTIVE_HIGH>;		
			label = "Vertical Motor Direction pin";
		};
		// motor_yaw_dir: motor_yaw_dir {
		// 	gpios = <&gpio1 2 GPIO_ACTIVE_HIGH>;		
		// 	label = "Yaw Motor Direction pin";
		// };
		motor_vertEN: motor_vertEN {
			gpios = <&gpio1 12 GPIO_ACTIVE_HIGH>;
			label = "Enable vertical motor driver";
		};
		motor_yawEN: motor_yawEN {
			gpios = <&gpio1 11 GPIO_ACTIVE_HIGH>;
			label = "Enable Yaw motor driver";
		};
		motor_reset: motor_reset{
			gpios = <&gpio1 5 GPIO_ACTIVE_HIGH>;
			label = "Motor driver reset pin";
		};
		Uart_TX: Uart_TX_28 {
            gpios = <&gpio0 28 GPIO_ACTIVE_HIGH>;
            label = "UART TX";
        };
		       
	};
	
	enables {
		compatible = "gpio-keys";
		Vbatpack_EN: Vbatpack_EN {
			gpios =  <&gpio0 17 (GPIO_ACTIVE_HIGH)>;
			label = "Battery enable for volatge measurement";
		};
		LaserBuck_EN: LaserBuck_EN {
			gpios =  <&gpio0 25 (GPIO_ACTIVE_HIGH)>;
			label = "Lasre buck converter Enable 8V";
		};
		MotorBuck_EN: MotorBuck_EN {
			gpios =  <&gpio1 1 (GPIO_ACTIVE_HIGH)>;
			label = "Motor Buck Convertor Enable 14V";
		};
		BattTH_EN: BattTH_EN {
			gpios =  <&gpio0 3 (GPIO_ACTIVE_HIGH)>;
			label = "Btthery Thermistor enable";
		};
		LaserLbias:LaserLbias {
			gpios =  <&gpio1 4 (GPIO_ACTIVE_HIGH)>;
			label = "Bias current enable for level laser";
		};
		LaserP1bias:LaserP1bias {
			gpios =  <&gpio1 3 (GPIO_ACTIVE_HIGH)>;
			label = "Bias current enable for plum 1 laser";
		};
		LaserP2bias:LaserP2bias {
			gpios =  <&gpio0 19 (GPIO_ACTIVE_HIGH)>;
			label = "Bias current enable for plum 2 laser";
		};
		Uart_RX: Uart_RX_29 {
            gpios = <&gpio0 29 (GPIO_PULL_UP | GPIO_ACTIVE_HIGH)>;
            label = "UART RX";
        };

		Laser_PS_ADC: Laser_PS_ADC{
			gpios = <&gpio0 5 (GPIO_ACTIVE_HIGH)>;
            label = "LASERPSASDC";
		};
		PACK_ID_EN: PACK_ID_EN{
			gpios = <&gpio0 26 (GPIO_ACTIVE_HIGH)>;
            label = "pack ID";
		};
		VBatt_coin_EN: Vbatt_coin_EN{
			gpios = <&gpio0 27 (GPIO_ACTIVE_HIGH)>;
            label = "coin adc en";
		};
		Laser_Current: Laser_Current{
			gpios = <&gpio0 30 (GPIO_ACTIVE_HIGH)>;
            label = "laser cuurent";
		};
		Vbatt_coin_adc: Vbatt_coin_adc{
			gpios = <&gpio0 31 (GPIO_ACTIVE_HIGH)>;
            label = "coin adc";
		};
		LDO_EN: LDO_EN{
			gpios = <&gpio0 22 (GPIO_ACTIVE_HIGH)>;
            label = "LDO enable";
		};
		

	};

	pwm {
		compatible = "pwm-leds";
		plum1_pwm: plum1_pwm {
			pwms = <&pwm0 0 PWM_MSEC(20) PWM_POLARITY_INVERTED>;
			label = "PWM control for plum1 laser";
		};

		plum2_pwm: plum2_pwm {
			pwms = <&pwm1 0 PWM_MSEC(20) PWM_POLARITY_INVERTED>;
			label = "PWM control for plum2 laser";
		};

		level_pwm: level_pwm {
			pwms = <&pwm2 0 PWM_MSEC(20) PWM_POLARITY_INVERTED>;
			label = "PWM control for level laser";
		};
		vert_motor_step: vert_motor_step {
			pwms = <&pwm3 0 PWM_MSEC(20) PWM_POLARITY_INVERTED>;
			label = "PWM control for Vertical motor";
		};
		yaw_motor_step: yaw_motor_step {
			pwms = <&pwm3 1 PWM_MSEC(20) PWM_POLARITY_INVERTED>;
			label = "PWM control for Yaw motor";
		};

	};

	zephyr,user{
		io-channels = <&adc 0>, <&adc 4>, <&adc 5>;//, <&adc 7> ;
	};

	aliases {
		keypadint 		= &keypadint;
		battdetect	    = &v3p3detect;
		pendlck			= &pendulumlock;
		bleled	 		= &Blue_led;
		dropled			= &Drop_led;
		slopeled		= &Slope_led;
		vbaten 			= &Vbatpack_EN;
		battthen		= &BattTH_EN;
		lbucken 		= &LaserBuck_EN;
		mbucken 		= &MotorBuck_EN;
		motordir 		= &motor_dir;
		motorverten     = &motor_vertEN;
		motoryawen      = &motor_yawEN;
		lvlbias			= &LaserLbias;
		plm1bias		= &LaserP1bias;
		plm2bias		= &LaserP2bias;
		motorrst		= &motor_reset;	
		uarttx 			= &Uart_TX;				//Bitbang Datalog
        uartrx 			= &Uart_RX;				//Bitbang Datalog
		laserpsadc 		= &Laser_PS_ADC;
		packiden		= &PACK_ID_EN;
		vbatcoinen		= &VBatt_coin_EN;
		lasercurrent	= &Laser_Current;
		vbattcoinadc	= &Vbatt_coin_adc;
		ldoen			= &LDO_EN;
	};
};

&gpio0 {
	status = "okay";
};

&gpio1 {
	status = "okay";
};

&spi1 {
	status = "okay";
	pinctrl-0 = <&spi1_default>;
	pinctrl-1 = <&spi1_sleep>;
	pinctrl-names = "default", "sleep";
	cs-gpios = <&gpio0 7 GPIO_ACTIVE_LOW>;
};

&pwm0 {
	status = "okay";
	pinctrl-0 = <&pwm0_default>;
	pinctrl-1 = <&pwm0_sleep>;
	pinctrl-names = "default", "sleep";
};

&pwm1 {
	status = "okay";
	pinctrl-0 = <&pwm1_default>;
	pinctrl-1 = <&pwm1_sleep>;
	pinctrl-names = "default", "sleep";
};

&pwm2 {
	status = "okay";
	pinctrl-0 = <&pwm2_default>;
	pinctrl-1 = <&pwm2_sleep>;
	pinctrl-names = "default", "sleep";
};

&pwm3 {
	status = "okay";
	pinctrl-0 = <&pwm3_default>;
	pinctrl-1 = <&pwm3_sleep>;
	pinctrl-names = "default", "sleep";
};



&adc {
	status = "okay";
};

// &uart0 {
// 	status = "okay";
// 	compatible = "nordic,nrf-uarte";
// 	current-speed = <115200>;
// 	pinctrl-0 = <&uart0_default>;
// 	pinctrl-1 = <&uart0_sleep>;
// 	pinctrl-names = "default", "sleep";
// };

&uart1 {
	compatible = "nordic,nrf-uarte";
	current-speed = <38400>;					//9600 = ibox, 38400 = bootloader
	status = "okay";
	pinctrl-0 = <&uart1_default>;
	pinctrl-1 = <&uart1_sleep>;
	pinctrl-names = "default", "sleep";
  };

  &i2c0 {
	status = "okay";
	pinctrl-0 = <&i2c0_default>;
	pinctrl-1 = <&i2c0_sleep>;
	pinctrl-names = "default", "sleep";

  };

//   &flash0 {
// 	partitions {
// 		compatible = "fixed-partitions";
// 		#address-cells = <1>;
// 		#size-cells = <1>;

// 		boot_partition: partition@0 {
// 			label = "mcuboot";
// 			reg = <0x000000000 0x0000C000>;
// 		};
// 		slot0_partition: partition@c000 {
// 			label = "image-0";
// 			reg = <0x0000C000 0x00067000>;
// 		};
// 		slot1_partition: partition@73000 {
// 			label = "image-1";
// 			reg = <0x00073000 0x00067000>;
// 		};
// 		scratch_partition: partition@da000 {
// 			label = "image-scratch";
// 			reg = <0x000da000 0x00014000>;
// 		};

// 		/*
// 		 * The flash starting at 0x000f8000 and ending at
// 		 * 0x000fffff is reserved for use by the application.
// 		 */

// 		/*
// 		 * Storage partition will be used by FCB/LittleFS/NVS
// 		 * if enabled.
// 		 */
// 		datalog_partition: partition@EE000 {
// 			label = "datalog";
// 			reg = <0x000ee000 0x0006000>;
// 		};
// 		calibraion_parition: partition@f4000 {
// 			label = "calib-variable";
// 			reg = <0x000f4000 0x0002000>;
// 		};
// 		variable_partition: partition@f6000{
// 			label = "flash-variable";
// 			reg = <0x000f6000 0x0002000>;
// 		};
// 		storage_partition: partition@f8000 {
// 			label = "storage";
// 			reg = <0x000f8000 0x00008000>;
// 		};
// 	};
// };

&flash0 {
	partitions {
		compatible = "fixed-partitions";
		#address-cells = <1>;
		#size-cells = <1>;

		boot_partition: partition@0 {
			label = "mcuboot";
			reg = <0x000000000 0x0000C000>;
		};
		slot0_partition: partition@c000 {
			label = "image-0";
			reg = <0x0000c000 0x00072000>;
		};
		// slot1_partition: partition@7e000 {
		// 	label = "image-1";
		// 	reg = <0x7e000 0x72000>;
		// };
		// scratch_partition: partition@f0000 {
		// 	label = "image-scratch";
		// 	reg = <0xf0000 0xa000>;
		// };
		scratch_partition: partition@7e000 {
			label = "image-scratch";
			reg = <0x0007e000 0x00070000>;
		};
		datalog_partition: partition@ee000	{
			label = "datalog-area";
			reg = <0x000ee000 0x00006000>;
		};
		calibraion_parition: partition@f4000 {
			label = "calib-area";
			reg = <0x000f4000 0x00002000>;
		};
		variable_partition: partition@f6000{
			label = "laserstatus-area";
			reg = <0x000f6000 0x00002000>;
		};
		storage_partition: partition@f8000 {
			label = "storage";
			reg = <0x000f8000 0x00008000>;
		};
	};
};
```

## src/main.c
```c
#include <zephyr.h>
#include <zephyr/sys/printk.h>
#include <sys/reboot.h>
#include <math.h>
#include <drivers/clock_control.h>
#include <drivers/clock_control/nrf_clock_control.h>
#include <drivers/counter.h>
#include <nrfx_clock.h>
#include <hal/nrf_gpio.h>

#include "keypad_attiny.h"
#include "motor_control.h"
#include "laser_control.h"
#include "Ble_central.h"
#include "gpio_def.h"
#include "datalog_handler.h"
#include "datalog_comms.h"
#include "utils.h"
#include "custom_adc.h"
#include "watchdog_timer.h"
#include "system_manager.h"



#define SLEEP_TIME      	1000
#define MAX_REBOOT 			32
#define LOOP_TIME_MS		60000
#define LOOP_TICKS_PER_SEC	25	

#define SOC1_pin	16
#define SOC2_pin	24
#define SOC3_pin	23


// bool shutdown = false;
// bool  msg_got_poll = false;
// bool  msg_disable_ibox_comms = false;


// static int disable_ds_1(const struct device *dev)
// {
// 	ARG_UNUSED(dev);

// 	pm_policy_state_lock_get(PM_STATE_SUSPEND_TO_DISK);
// 	return 0;
// }

// SYS_INIT(disable_ds_1, PRE_KERNEL_2, 0);

static int early_init(const struct device *dev)
{
	
	nrf_gpio_cfg_output(SOC1_pin);
	nrf_gpio_cfg_output(SOC2_pin);
	nrf_gpio_cfg_output(SOC3_pin);
	nrf_gpio_pin_set(SOC1_pin);
	nrf_gpio_pin_set(SOC2_pin);
	nrf_gpio_pin_set(SOC3_pin);
	return 0;
}
SYS_INIT(early_init, PRE_KERNEL_1, 0);

// void datalogtimer_expiry(struct k_timer *timer)
// {
// 	DL_Inc_U32(&DL_log.app_time_bucket_0);
	
// 	// DL_Write();
// }

// K_TIMER_DEFINE(datalog_timer, datalogtimer_expiry, NULL);

/**
 * @brief Main loop
 * 
 * @note highest priority loop , implement watchdog feed. 
 * 
 */

void main(void)
{
	printk("Hello World from %s\n", CONFIG_BOARD);
	// // control_init();

	sys_init();

    DL_Inc_U32(&DL_log.main_power_switch_in_cycles);		//Datalog the main switch cycles.


	while(1)
	{
		// k_sem_take(&sleep_reboot, K_FOREVER);
		// if(system_sleep_flag)
		// {
		// 	sys_reboot(0);
		// }
		wdt_feed(wdt, wdt_channel_id);						//Feed the watchdog timer every 5 sec.
		k_sleep(K_SECONDS(5));			
	}
}
```
